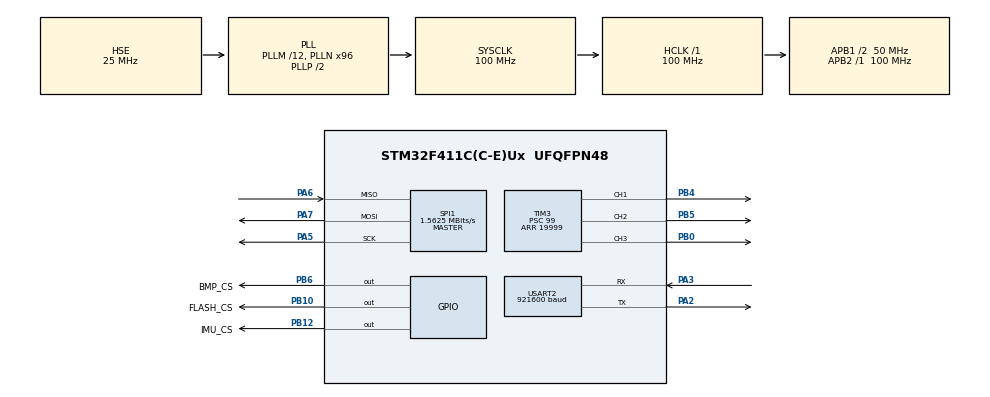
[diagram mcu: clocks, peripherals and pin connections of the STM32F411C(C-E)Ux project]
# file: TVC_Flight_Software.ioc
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Mcu.Family=STM32F4
Mcu.Name=STM32F411C(C-E)Ux
Mcu.Package=UFQFPN48
NVIC.PriorityGroup=NVIC_PRIORITYGROUP_4
NVIC.TIM2_IRQn=true\:0\:0\:false\:false\:true\:true\:true\:true
PA2.Mode=Asynchronous
PA2.Signal=USART2_TX
PA3.GPIO_PuPd=GPIO_PULLUP
PA3.Mode=Asynchronous
PA3.Signal=USART2_RX
PA5.Mode=Full_Duplex_Master
PA5.Signal=SPI1_SCK
PA6.Mode=Full_Duplex_Master
PA6.Signal=SPI1_MISO
PA7.Mode=Full_Duplex_Master
PA7.Signal=SPI1_MOSI
PB0.Signal=S_TIM3_CH3
PB10.GPIO_Label=FLASH_CS
PB10.PinState=GPIO_PIN_SET
PB10.Signal=GPIO_Output
PB12.GPIO_Label=IMU_CS
PB12.PinState=GPIO_PIN_SET
PB12.Signal=GPIO_Output
PB4.Signal=S_TIM3_CH1
PB5.Signal=S_TIM3_CH2
PB6.GPIO_Label=BMP_CS
PB6.PinState=GPIO_PIN_SET
PB6.Signal=GPIO_Output
PH0\ -\ OSC_IN.Mode=HSE-External-Oscillator
PH0\ -\ OSC_IN.Signal=RCC_OSC_IN
PH1\ -\ OSC_OUT.Mode=HSE-External-Oscillator
PH1\ -\ OSC_OUT.Signal=RCC_OSC_OUT
ProjectManager.HeapSize=0x200
ProjectManager.StackSize=0x400
ProjectManager.TargetToolchain=CMake
RCC.48MHZClocksFreq_Value=50000000
RCC.AHBFreq_Value=100000000
RCC.APB1CLKDivider=RCC_HCLK_DIV2
RCC.APB1Freq_Value=50000000
RCC.APB1TimFreq_Value=100000000
RCC.APB2Freq_Value=100000000
RCC.APB2TimFreq_Value=100000000
RCC.CortexFreq_Value=100000000
RCC.HCLKFreq_Value=100000000
RCC.HSE_VALUE=25000000
RCC.HSI_VALUE=16000000
RCC.LSE_VALUE=32768
RCC.PLLM=12
RCC.PLLN=96
RCC.PLLSourceVirtual=RCC_PLLSOURCE_HSE
RCC.SYSCLKFreq_VALUE=100000000
RCC.SYSCLKSource=RCC_SYSCLKSOURCE_PLLCLK
RCC.VCOOutputFreq_Value=200000000
SH.S_TIM3_CH1.0=TIM3_CH1,PWM Generation1 CH1
SH.S_TIM3_CH2.0=TIM3_CH2,PWM Generation2 CH2
SH.S_TIM3_CH3.0=TIM3_CH3,PWM Generation3 CH3
SPI1.BaudRatePrescaler=SPI_BAUDRATEPRESCALER_64
SPI1.CLKPhase=SPI_PHASE_2EDGE
SPI1.CLKPolarity=SPI_POLARITY_HIGH
SPI1.CalculateBaudRate=1.5625 MBits/s
SPI1.Direction=SPI_DIRECTION_2LINES
SPI1.Mode=SPI_MODE_MASTER
SPI1.VirtualType=VM_MASTER
TIM2.Period=49
TIM2.Prescaler=9999
TIM3.Channel-PWM\ Generation1\ CH1=TIM_CHANNEL_1
TIM3.Channel-PWM\ Generation2\ CH2=TIM_CHANNEL_2
TIM3.Channel-PWM\ Generation3\ CH3=TIM_CHANNEL_3
TIM3.Period=19999
TIM3.Prescaler=99
TIM3.Pulse-PWM\ Generation3\ CH3=2000
USART2.BaudRate=921600
USART2.VirtualMode=VM_ASYNC
VP_TIM2_VS_ClockSourceINT.Mode=Internal
board=custom

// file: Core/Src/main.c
/* USER CODE BEGIN Header */
/**
  ******************************************************************************
  * @file           : main.c
  * @brief          : Main program body
  ******************************************************************************
  * @attention
  *
  * Copyright (c) 2026 STMicroelectronics.
  * All rights reserved.
  *
  * This software is licensed under terms that can be found in the LICENSE file
  * in the root directory of this software component.
  * If no LICENSE file comes with this software, it is provided AS-IS.
  *
  ******************************************************************************
  */
/* USER CODE END Header */
#include "main.h"

/* USER CODE BEGIN Includes */
#include <stdint.h>
#include <stdio.h>
#include <math.h>
/* USER CODE END Includes */

/* USER CODE BEGIN PTD */
typedef struct {
  float w, x, y, z;
} Quaternion;

typedef struct {
    uint16_t dig_T1;
    int16_t dig_T2;
    int16_t dig_T3;
    uint16_t dig_P1;
    int16_t dig_P2;
    int16_t dig_P3;
    int16_t dig_P4;
    int16_t dig_P5;
    int16_t dig_P6;
    int16_t dig_P7;
    int16_t dig_P8;
    int16_t dig_P9;
} BMP280_Calib;

typedef enum {
  FLIGHT_DISARMED = 0,
  FLIGHT_PAD,
  FLIGHT_BOOST,
  FLIGHT_COAST,
  FLIGHT_DESCENT,
} FlightState;

typedef struct __attribute__((packed)) {
  uint32_t t_ms;                  // 4
  float qw, qx, qy, qz;           // 16
  float wx, wy, wz;               // 12 (post bias correction, rad/s)
  float ax_g, ay_g, az_g;         // 12 (raw accel, g)
  float err_y, err_z;             // 8
  float    cmd_y, cmd_z;          // 8   (gimbal degrees)
  uint16_t pulse_y, pulse_z;      // 4   (µs)
  float    kf_h, kf_v, kf_b;      // 12
  uint8_t  state;                 // 1
  uint8_t  flags;                 // 1
} LogRecord;

typedef enum {
  EJECT_IDLE = 0,   // waiting for a trigger
  EJECT_KNOCK,      // horn at knock position
  EJECT_RETURN,     // horn back at armed
  EJECT_DONE,       // fired, will not fire again
} EjectState;

/* USER CODE END PTD */

/* USER CODE BEGIN PD */
#define ISM_WHO_AM_I  0x0F
#define ISM_CTRL1_XL  0x10 // Accelerometer Control: 0DR + full-scale
#define ISM_CTRL2_G   0x11 // Gyroscope Control: 0DR + full-scale
#define ISM_OUTX_L_G  0x22 // Gyroscope X-axis output, low byte (data block starts here)
#define ISM_OUTX_L_A  0x28 // Accelerometer X-axis output, low byte (data block starts here)
#define ACCEL_SENS_8G 0.244f // milli g's per count (+-8g range)
#define GYRO_SENS_1000DPS 35.0f // milli dps per count (+-1000 dps range)
#define GRAVITY 9.80665f // m/s^2

// Flight state machine thresholds
// Motor is Estes F15-0 with total loaded mass of 705g
#define LAUNCH_ACCEL_THRESH  5.0f // m/s^2, well above noise. Max accel = ~27 m/s^2 from OpenRocket sim
#define BURNOUT_ACCEL_THRESH -4.0f // m/s^2, thrust gone
#define APOGEE_VEL_THRESH -1.0f // m/s, definitively descending
#define DEBOUNCE_PASSES 20 // 20 passes at 200 Hz = 100ms

#define ARM_TILT_MAX     35.0f  // degrees from vertical
#define ARM_GYRO_MAX     0.25f  // rad/s, any axis, must be below to enter armed state
#define ARM_ACCEL_BAND   0.30f  // g, deviation from 1.0g must be below to enter armed state
#define ARM_HOLD_PASSES  2000   // 10s hold time

// ---- Recovery ejection (TIM3_CH3, PB0) ----
#define EJECT_ARMED_US       2000   // latch engaged, horn clear
#define EJECT_KNOCK_US        600   // tuned against the latch
#define EJECT_DWELL_PASSES    100   // 500 ms at 200 Hz
#define EJECT_BACKUP_PASSES  1300   // 6.5 s after BOOST -- set from OpenRocket

// Kalman filter parameters
#define KF_ACCEL_NOISE 0.15f // m/s^2, accelerometer noise std dev
#define KF_BIAS_WALK  0.005f  // m/s^2 per sqrt(s), how fast bias drifts
#define KF_BARO_NOISE  0.40f  // m, barometer noise std dev (I measured this)

// FLAG BITS
#define LOG_FLAG_SAT_Y     0x01   // cmd_y clamped at MAX_DEFLECT
#define LOG_FLAG_SAT_Z     0x02   // cmd_z clamped at MAX_DEFLECT
#define LOG_FLAG_PULSE_Y   0x04   // pulse_y hit µs bound -- should never fire
#define LOG_FLAG_PULSE_Z   0x08   // pulse_z hit µs bound -- should never fire
#define LOG_FLAG_NO_TRUST  0x10   // accel trust was zero
#define LOG_FLAG_OVERRUN   0x20   // loop didn't finish before next tick
#define LOG_FLAG_EJECT     0x40   // ejection sequence active this tick
#define LOG_FLAG_EJECT_BAK 0x80   // fired by backup timer, not apogee detection

// ---- Servo calibration (measured 2026-07-31, 6.75" lever arm) ----
// Channel map:
//   TIM3_CH1 = PB4 = mount "Y" axis servo
//   TIM3_CH2 = PB5 = mount "X" axis servo
#define SERVO_MY_TRIM   1600    // µs at gimbal neutral
#define SERVO_MY_USPD   44.4f   // µs per gimbal degree
#define SERVO_MY_MIN    1175    // µs
#define SERVO_MY_MAX    1925    // µs

#define SERVO_MX_TRIM   1875    // µs, at gimbal neutral
#define SERVO_MX_USPD   48.5f   // µs, per gimbal degree
#define SERVO_MX_MIN    1450    // µs
#define SERVO_MX_MAX    2300    // µs

#define MAX_DEFLECT     6.0f    // gimbal degrees, both axes

// Verified (+Y on IMU points from +X servo toward center of rocket)
#define SERVO_MY_SIGN   (-1.0f) // Verified on Bench
#define SERVO_MX_SIGN   (+1.0f) // Verified on Bench

#define SLEW_MAX_US  25   // µs of pulse change per 5 ms tick

// TESTING
#define BENCH_TEST 0  // TEMPORARY: force controller active for bench sign check
#define SLEW_TEST 0   // 1 = bench slew measurement, never fly with this set
#define DRIFT_TEST 0  // 1 = disable accel correction to measure gyro drift
#define SIM_MODE 0   // 1 = synthetic flight profile, 0 = real sensors
#define EJECTION_BENCH_TEST 0 // 1 = bench test of ejection sequence, 0 = normal flight

// Ejection Testing
#define EJECT_DWELL_MS       500   // time at knock before returning

// SPI Timeouts
#define SPI_TIMEOUT_MS  10 // ms

// Flash Chip
// Logging
#define LOG_RECORDS_PER_PAGE  3      // 3 x 78 = 234 bytes, fits a 256-byte page
#define LOG_STOP_PASSES       2000   // 10 s at 200 Hz after DESCENT
#define FLASH_SIZE            0x1000000   // 16 MB

// ---- PAD arming indicator ----
// Both TVC servos wiggle in sequence on entering PAD, so the vehicle can
// signal "armed, safe to ignite" without a serial connection. Sequential
// rather than simultaneous so a dead channel is visible.
#define WIGGLE_DEG          4.0f   // gimbal degrees, well inside MAX_DEFLECT
#define WIGGLE_STEP_PASSES    60   // 300 ms per step at 200 Hz
#define WIGGLE_STEPS          10   // Y: +,-,+,-, then Z: +,-,+,-, then center x2

/* USER CODE END PD */

SPI_HandleTypeDef hspi1;

TIM_HandleTypeDef htim2;
TIM_HandleTypeDef htim3;

UART_HandleTypeDef huart2;

/* USER CODE BEGIN PV */
volatile uint8_t tick_ready = 0;

BMP280_Calib calib; // Structure to hold calibration data
int32_t t_fine; // Variable to hold the fine temperature value for compensation

float p0; // Pressure at ground
/* USER CODE END PV */

void SystemClock_Config(void);
static void MX_GPIO_Init(void);
static void MX_SPI1_Init(void);
static void MX_TIM2_Init(void);
static void MX_TIM3_Init(void);
static void MX_USART2_UART_Init(void);
/* USER CODE BEGIN PFP */

// IMU & Orientation Functions
uint8_t IMU_ReadRegister(uint8_t reg);
void IMU_WriteRegister(uint8_t reg, uint8_t value);
void IMU_ReadRegisters(uint8_t reg, uint8_t *buffer, uint8_t len);

Quaternion quat_multiply(Quaternion a, Quaternion b);
Quaternion quat_conjugate(Quaternion q);
Quaternion quat_normalize(Quaternion q);
void quat_print(const char *label, Quaternion q);

Quaternion quat_integrate(Quaternion q, float wx, float wy, float wz, float dt); // integrate angular velocity into quaternion

void quat_rotate_vector(Quaternion q, float vx, float vy, float vz, float *rx, float *ry, float *rz);

void quat_to_euler(Quaternion q, float *roll, float *pitch, float *yaw);

void attitude_tilt(Quaternion q, float *tilt_deg, float *err_y, float *err_z);

Quaternion quat_from_two_vectors(float ax, float ay, float az, float bx_, float by_, float bz_);

// BMP 280 Functions
uint8_t BMP280_ReadRegister(uint8_t reg); // Function to read a register from the BMP280 sensor

void BMP280ReadRegisters(uint8_t reg, uint8_t *buffer, uint16_t len); // Function to read multiple registers from the BMP280 sensor
void BMP280_ReadCalibration(void); // Function to read calibration data from the BMP280 sensor
void BMP280ReadRaw(int32_t *raw_temp, int32_t *raw_press); // Function to read raw temperature and pressure data from the BMP280 sensor
void BMP280_WriteRegister(uint8_t reg, uint8_t value);
float BMP280CompensateTemp(int32_t raw_temp); // Function to compensate the raw temperature data using calibration data
float BMP280CompensatePress(int32_t raw_press); // Function to compensate the raw pressure data using calibration data

// Altitude Functions
float pressure_to_altitude(float pressure_pa, float p0_pa);

// SIM Functions
#if SIM_MODE
float sim_lin_accel_z(float t);
#endif

// Flash Chip Functions
void Flash_ReadJEDEC(uint8_t *buf);
void Flash_Read(uint32_t addr, uint8_t *buf, uint16_t len);
uint8_t Flash_ReadStatus(void);
void Flash_WaitBusy(void);
void Flash_WriteEnable(void);
void Flash_PageProgram(uint32_t addr, const uint8_t *data, uint16_t len);
void Flash_SectorErase(uint32_t addr);
void Flash_Dump(void);
void Flash_EraseLog(void);
static uint32_t Flash_FindEndSector(void);
uint32_t Flash_FindWriteAddr(void);

// Control Functions
static uint16_t gimbal_to_pulse(float cmd_deg, float sign, uint16_t trim, float us_per_deg, uint16_t min_us, uint16_t max_us);

/* USER CODE END PFP */

int main(void)
{

  /* MCU Configuration--------------------------------------------------------*/

  /* Reset of all peripherals, Initializes the Flash interface and the Systick. */
  HAL_Init();

  /* Configure the system clock */
  SystemClock_Config();

  /* Initialize all configured peripherals */
  MX_GPIO_Init();
  MX_SPI1_Init();
  MX_TIM2_Init();
  MX_TIM3_Init();
  MX_USART2_UART_Init();
  /* USER CODE BEGIN 2 */

#if EJECTION_BENCH_TEST
  __HAL_TIM_SET_COMPARE(&htim3, TIM_CHANNEL_3, EJECT_ARMED_US);
  HAL_TIM_PWM_Start(&htim3, TIM_CHANNEL_3);
  HAL_Delay(10000);
  __HAL_TIM_SET_COMPARE(&htim3, TIM_CHANNEL_3, EJECT_KNOCK_US);
  HAL_Delay(EJECT_DWELL_MS);
  __HAL_TIM_SET_COMPARE(&htim3, TIM_CHANNEL_3, EJECT_ARMED_US);
  while (1) { }
#endif

  printf("LogRecord size: %u bytes (expected 78)\r\n", (unsigned)sizeof(LogRecord));

  // CS rests HIGH (deselected). Overrides CubeMX's startup LOW
  HAL_GPIO_WritePin(IMU_CS_GPIO_Port, IMU_CS_Pin, GPIO_PIN_SET);
  HAL_GPIO_WritePin(BMP_CS_GPIO_Port, BMP_CS_Pin, GPIO_PIN_SET);
  HAL_GPIO_WritePin(FLASH_CS_GPIO_Port, FLASH_CS_Pin, GPIO_PIN_SET);
  HAL_Delay(10);

  // Enable DWT cycle counter for loop timing instrumentaion
  CoreDebug->DEMCR |= CoreDebug_DEMCR_TRCENA_Msk;
  DWT->CYCCNT = 0;
  DWT->CTRL |= DWT_CTRL_CYCCNTENA_Msk;

  uint8_t who_am_i = IMU_ReadRegister(ISM_WHO_AM_I);
  printf("ISM330DHCX IMU WHO_AM_I: 0x%02X (expected: 0x6B)\r\n", who_am_i);

  uint8_t BMP280_ID = BMP280_ReadRegister(0xD0); // Read the chip ID register
  printf("BMP280 Chip ID: 0x%02X (expected: 0x58)\r\n", BMP280_ID); // Print the chip ID to UART

  // --- W25Q128 flash bring-up test ---
  uint8_t jedec[3];
  Flash_ReadJEDEC(jedec);
  printf("W25Q128 JEDEC: %02X %02X %02X (expected EF 40 18)\r\n",
         jedec[0], jedec[1], jedec[2]);

  // Ground utility menu. Times out into flight mode after 3 s.
  printf("Press 'd' to dump, 'e' to erase, any other key to fly...\r\n");
  uint8_t ch;
  if (HAL_UART_Receive(&huart2, &ch, 1, 3000) == HAL_OK) {
    if (ch == 'd' || ch == 'D') {
      Flash_Dump();
      printf("Dump complete. Reset to continue.\r\n");
      while (1) { }
    } else if (ch == 'e' || ch == 'E') {
      printf("Erase all flight data? Press 'y' to confirm.\r\n");
      uint8_t confirm;
      if (HAL_UART_Receive(&huart2, &confirm, 1, 10000) == HAL_OK &&
          (confirm == 'y' || confirm == 'Y')) {
        Flash_EraseLog();
      } else {
        printf("Erase cancelled.\r\n");
      }
      printf("Reset to continue.\r\n");
      while (1) { }
    }
  }

  // Test Pattern
  //uint8_t pattern[16];
  //for (int i = 0; i < 16; i++) pattern[i] = 0xA0 + i;
  //Flash_PageProgram(0x000000, pattern, 16);

  uint32_t t_find = HAL_GetTick();
  uint32_t log_addr = Flash_FindWriteAddr();
  printf("Log write pointer: 0x%06lX (%lu KB used, %lu ms)\r\n",
         (unsigned long)log_addr, (unsigned long)(log_addr / 1024),
         (unsigned long)(HAL_GetTick() - t_find));

  BMP280_ReadCalibration();
  printf("dig_T1 = %u  dig_P1 = %u\r\n", calib.dig_T1, calib.dig_P1);

  BMP280_WriteRegister(0xF4, 0x57);  // temp x2, press x16, normal mode
  HAL_Delay(100);

  // Establish ground reference pressure by averaging 32 samples
  float p0_sum = 0.0f;
  for (int i = 0; i < 32; i++) {
    int32_t rt, rp;
    BMP280ReadRaw(&rt, &rp);
    BMP280CompensateTemp(rt);
    float sample = BMP280CompensatePress(rp);
    p0_sum += sample;
    HAL_Delay(50);
  }
  p0 = p0_sum / 32.0f;
  printf("Ground reference P0: %.2f Pa\r\n", p0);

  // Wake accelerometer: 208 Hz 0DR, +-8g
  IMU_WriteRegister(ISM_CTRL1_XL, 0x5C);
  // Wake gyroscope: 208 Hz 0DR, +-1000 dps
  IMU_WriteRegister(ISM_CTRL2_G, 0x58);

  // Read the control registers back to confirm the wake-up took
  printf("CTRL1_XL: 0x%02X (expected 0x5C)\r\n", IMU_ReadRegister(ISM_CTRL1_XL));
  printf("CTRL2_G:  0x%02X (expected 0x58)\r\n", IMU_ReadRegister(ISM_CTRL2_G));

  HAL_TIM_Base_Start_IT(&htim2);

  // Servo PWM on TIM3: CH1 = PB4, CH2 = PB5
  HAL_TIM_PWM_Start(&htim3, TIM_CHANNEL_1);
  HAL_TIM_PWM_Start(&htim3, TIM_CHANNEL_2);
  __HAL_TIM_SET_COMPARE(&htim3, TIM_CHANNEL_1, SERVO_MY_TRIM);   // y axis servo
  __HAL_TIM_SET_COMPARE(&htim3, TIM_CHANNEL_2, SERVO_MX_TRIM);   // x axis servo

#if SLEW_TEST
  {
    uint32_t dwell = 100;   // ms, starting point
    while (1) {
      printf("dwell %lu ms\r\n", (unsigned long)dwell);

      for (int i = 0; i < 5; i++) {
        // swing to +MAX_DEFLECT
        __HAL_TIM_SET_COMPARE(&htim3, TIM_CHANNEL_2,
          gimbal_to_pulse(+MAX_DEFLECT, SERVO_MX_SIGN, SERVO_MX_TRIM,
                          SERVO_MX_USPD, SERVO_MX_MIN, SERVO_MX_MAX));
        HAL_Delay(dwell);

        // back to trim, settle
        __HAL_TIM_SET_COMPARE(&htim3, TIM_CHANNEL_2, SERVO_MX_TRIM);
        HAL_Delay(800);

        // swing to -MAX_DEFLECT
        __HAL_TIM_SET_COMPARE(&htim3, TIM_CHANNEL_2,
          gimbal_to_pulse(-MAX_DEFLECT, SERVO_MX_SIGN, SERVO_MX_TRIM,
                          SERVO_MX_USPD, SERVO_MX_MIN, SERVO_MX_MAX));
        HAL_Delay(dwell);

        // back to trim, settle
        __HAL_TIM_SET_COMPARE(&htim3, TIM_CHANNEL_2, SERVO_MX_TRIM);
        HAL_Delay(800);
      }

      if (dwell > 20) {
        dwell -= 10;
      } else {
        printf("floor reached, restarting\r\n");
        __HAL_TIM_SET_COMPARE(&htim3, TIM_CHANNEL_1, SERVO_MY_TRIM);
        HAL_Delay(3000);
        dwell = 200;
      }
    }
  }
#endif

  // Ejection servo: compare register set BEFORE the channel is enabled, so
  // the first pulse out of PB0 is the armed position. A window at 1500 would
  // be a deploy event on the pad.
  __HAL_TIM_SET_COMPARE(&htim3, TIM_CHANNEL_3, EJECT_ARMED_US);
  HAL_TIM_PWM_Start(&htim3, TIM_CHANNEL_3);

  /* USER CODE END 2 */

  /* Infinite loop */
  /* USER CODE BEGIN WHILE */
  uint8_t accel_buf[6];
  uint8_t gyro_buf[6];

   // Seed attitude from gravity. Board must be stationary at boot
  HAL_Delay(50);   // let the accel produce a valid sample after wake up

  uint8_t init_buf[6];
  IMU_ReadRegisters(ISM_OUTX_L_A, init_buf, 6);
  int16_t iax = (int16_t)(init_buf[1] << 8 | init_buf[0]);
  int16_t iay = (int16_t)(init_buf[3] << 8 | init_buf[2]);
  int16_t iaz = (int16_t)(init_buf[5] << 8 | init_buf[4]);
  float inorm = sqrtf((float)iax*iax + (float)iay*iay + (float)iaz*iaz);

  Quaternion q = {1.0f, 0.0f, 0.0f, 0.0f}; // start at identity (no rotation)
  if (inorm > 1e-3f) {
    // Measured world-up direction in body coordinates
    float ux0 = iax / inorm, uy0 = iay / inorm, uz0 = iaz / inorm;
    // Rotate carrying world-up (0,0,1) onto the measured direction
    q = quat_from_two_vectors(ux0, uy0, uz0, 0.0f, 0.0f, 1.0f);
  }
  quat_print("seed q:", q);

  float bx = 0.0f, by = 0.0f, bz = 0.0f; // estimated gyro bias (rad/s)
  const float DEG2RAD = 3.14159265358979323846f / 180.0f;

  const float Kp = 2.0f; // proportional gain for Mahoney filter (tubing knob)
  const float Ki = 0.01f; // integral gain
  const float TRUST_BAND = 0.10f;  // full trust within +/- this many g of 1.0
  const float TRUST_ZERO = 0.30f;  // zero trust beyond this many g from 1.0

  uint32_t last_tick = HAL_GetTick();
  uint32_t pass_count = 0;
  float altitude = 0.0f;

  uint32_t worst_cycles = 0;    // longest tick seen, in CPU cycles
  uint32_t overrun_count = 0;   // ticks that missed their deadline
  uint32_t nan_count = 0;       // NaN resets encountered (should be zero)

  // Complimentary filter values for altitude/velocity fusion (OLD)

  //float h = 0.0f; // fused altitude estimate (m above pad)
  //float v = 0.0f; // fused vertical velocity estimate (m/s)
  //const float Kh = 0.30f; // how hard baro pulls the altitude estimate
  //const float Kv = 0.60f; // how hard baro pulls the velocity estimate

  FlightState flight_state = FLIGHT_DISARMED;
  uint16_t debounce_count = 0;
  uint32_t arm_count = 0;

  // --- Kalman state ---
  float kf_h = 0.0f;   // altitude estimate (m)
  float kf_v = 0.0f;   // velocity estimate (m/s)
  float kf_b = 0.0f;   // accelerometer bias (m/s^2)

  // --- Logging state ---
  uint8_t  log_buf[256];
  uint8_t  log_count = 0;        // records currently in log_buf
  uint8_t  log_active = 0;       // 1 = logging
  uint32_t log_stop_count = 0;   // passes since entering DESCENT
  for (int i = 0; i < 256; i++) log_buf[i] = 0xFF;

  // --- Ejection state ---
  EjectState eject_state = EJECT_IDLE;
  uint32_t eject_timer = 0;        // passes in the current sequence step
  uint32_t boost_passes = 0;       // passes since BOOST entry, for the backup
  uint8_t  eject_by_backup = 0;    // which trigger fired

  // --- PAD wiggle indicator ---
  uint8_t  wiggle_step = 0;        // 0 = not started
  uint32_t wiggle_timer = 0;
  uint8_t  wiggle_done = 0;        // latch -- runs once per boot

  // --- Slew Rate Limiter ---
  uint16_t prev_pulse_y = SERVO_MY_TRIM;
  uint16_t prev_pulse_z = SERVO_MX_TRIM;

  // Covariance, symmetric 3x3 (six unique terms)
  float p00 = 1.0f,  p01 = 0.0f,  p02 = 0.0f;
  float p11 = 1.0f,  p12 = 0.0f;
  float p22 = 1.0f;

  // Control gain
  const float Kp_att = 86.0f;  // gimbal degrees per radian of attitude error <----- FROM TUNING.MD
  const float Kd_att = 10.0f;   // gimbal degrees per rad/s of body rate <----- FROM TUNING.MD

  while (1)
  {
    if (tick_ready) {
      tick_ready = 0;
      uint32_t t_start = DWT->CYCCNT;
      pass_count++;

      uint32_t now = HAL_GetTick();
      float dt = (now - last_tick) / 1000.0f; // convert ms to seconds
      last_tick = now;

      if (pass_count % 8 == 0) {       // 200 Hz / 8 = 25 Hz
        int32_t rt, rp;
        BMP280ReadRaw(&rt, &rp);
        BMP280CompensateTemp(rt);
        float press = BMP280CompensatePress(rp);
        altitude = pressure_to_altitude(press, p0);

        // Correction step (25 Hz)
#if !SIM_MODE
        // OLD COMPLIMENTARY FILTER
        // float alt_err = altitude - h;
        // h += Kh * alt_err;
        // v += Kv * alt_err;

        // --- Kalman Update (25 Hz) ---
        {
          float y = altitude - kf_h;
          float S = p00 + KF_BARO_NOISE * KF_BARO_NOISE;
          float k0 = p00 / S;
          float k1 = p01 / S;
          float k2 = p02 / S;

          kf_h += k0 * y;
          kf_v += k1 * y;
          kf_b += k2 * y;

          float m00 = (1.0f - k0) * p00;
          float m01 = (1.0f - k0) * p01;
          float m02 = (1.0f - k0) * p02;
          float m11 = p11 - k1 * p01;
          float m12 = p12 - k1 * p02;
          float m22 = p22 - k2 * p02;

          p00 = m00; p01 = m01; p02 = m02;
          p11 = m11; p12 = m12; p22 = m22;
        }
#endif
      }

      IMU_ReadRegisters(ISM_OUTX_L_G, gyro_buf, 6);
      IMU_ReadRegisters(ISM_OUTX_L_A, accel_buf, 6);

      int16_t ax = (int16_t)(accel_buf[1] << 8 | accel_buf[0]);
      int16_t ay = (int16_t)(accel_buf[3] << 8 | accel_buf[2]);
      int16_t az = (int16_t)(accel_buf[5] << 8 | accel_buf[4]);
      int16_t gx = (int16_t)(gyro_buf[1] << 8 | gyro_buf[0]);
      int16_t gy = (int16_t)(gyro_buf[3] << 8 | gyro_buf[2]);
      int16_t gz = (int16_t)(gyro_buf[5] << 8 | gyro_buf[4]);

      // raw -> dps -> rad/s
      float wx = gx * GYRO_SENS_1000DPS / 1000.0f * DEG2RAD;
      float wy = gy * GYRO_SENS_1000DPS / 1000.0f * DEG2RAD;
      float wz = gz * GYRO_SENS_1000DPS / 1000.0f * DEG2RAD;

      // --- Step 2/3: accel correction ---
      // Calcualte magnitude of accel readings
      float an = sqrtf((float)ax*ax + (float)ay*ay + (float)az*az);
      // Convert magnitude to g's and compare to 1.0g. g_err should read 0 at rest
      float an_g = an * ACCEL_SENS_8G / 1000.0f;  // raw counts -> g

      float g_err = fabsf(an_g - 1.0f); //how far from pure gravity?

      // Trust factor
      float trust;
      if (g_err <= TRUST_BAND) {
        trust = 1.0f;
      } else if (g_err >= TRUST_ZERO) {
        trust = 0.0f;
      } else {
        trust = 1.0f - (g_err - TRUST_BAND) / (TRUST_ZERO - TRUST_BAND);
      }

#if DRIFT_TEST
      if (flight_state != FLIGHT_DISARMED) trust = 0.0f;  // disable accel correction after 20s for gyro drift measurement
#endif

      if (an > 1e-3f) {
        float max = ax / an, may = ay / an, maz = az / an; // measured gravity direction

        // predicted gravity in body frame = q* applied to world up (0,0,1)
        float px, py, pz;
        quat_rotate_vector(quat_conjugate(q), 0.0f, 0.0f, 1.0f, &px, &py, &pz);

        // error = measured x predicted (cross product)
        float ex = may*pz - maz*py;
        float ey = maz*px - max*pz;
        float ez = max*py - may*px;

        // Accumulate the error into bias
        bx += Ki * trust * ex * dt;
        by += Ki * trust * ey * dt;
        bz += Ki * trust * ez * dt;

        // anti-windup: real gyro bias is tiny (~a few dps). Cap it.
        const float BIAS_MAX = 0.05f;  // rad/s, ~3 dps
        if (bx > BIAS_MAX) bx = BIAS_MAX;
        if (bx < -BIAS_MAX) bx = -BIAS_MAX;
        if (by > BIAS_MAX) by = BIAS_MAX;
        if (by < -BIAS_MAX) by = -BIAS_MAX;
        if (bz > BIAS_MAX) bz = BIAS_MAX;
        if (bz < -BIAS_MAX) bz = -BIAS_MAX;

        // --- Step 4: feed error back into the gyro rate ---
        wx += Kp * trust * ex;
        wy += Kp * trust * ey;
        wz += Kp * trust * ez;
      }

      wx -= bx;
      wy -= by;
      wz -= bz;

      q = quat_integrate(q, wx, wy, wz, dt);

      // NaN guard: a NaN quaternion is unrecoverable and defeats every
      // downstream clamp (all NaN comparisons are false). Reset and let the
      // Mahony filter re-converge from the accelerometer.
      if (isnan(q.w) || isnan(q.x) || isnan(q.y) || isnan(q.z)) {
        q.w = 1.0f; q.x = 0.0f; q.y = 0.0f; q.z = 0.0f;
        bx = 0.0f; by = 0.0f; bz = 0.0f;   // bias accumulated against bad attitude, reset it
        nan_count++;
      }
      // Attitude error for control
      float tilt, err_y, err_z;
      attitude_tilt(q, &tilt, &err_y, &err_z);

      // --- world-frame linear acceleration
      // Raw counts --> g (physical units, not the normalized direction)
      // vector the Mahony correction uses
      float ax_g = ax * ACCEL_SENS_8G / 1000.0f;
      float ay_g = ay * ACCEL_SENS_8G / 1000.0f;
      float az_g = az * ACCEL_SENS_8G / 1000.0f;

      // Body --> world (pass q, not its conjugate)
      float wax, way, waz;
      quat_rotate_vector(q, ax_g, ay_g, az_g, &wax, &way, &waz);

      // Remove gravity: world up is +Z, so a stationary sensor reads +1g
      float lin_accel_z = (waz - 1.0f) * GRAVITY;   // m/s^2

// SIM MODE LIN Z
#if SIM_MODE
      static float sim_t = 0.0f;
      if (flight_state >= FLIGHT_PAD) {
        sim_t += dt;
      }
      lin_accel_z = sim_lin_accel_z(sim_t);
#endif

      // Vertical channel, predict step (200 Hz) (OLD COMPLIMENTARY FILER)
      // h += v * dt + 0.5f * lin_accel_z * dt * dt;
      // v += lin_accel_z * dt;

      // --- Kalman predict (200Hz) ---
      {
        float a = lin_accel_z - kf_b;

        kf_h += kf_v * dt + 0.5f * a *dt * dt;
        kf_v += a * dt;

        float c = -0.5f * dt * dt;
        float d = -dt;

        float f00 = p00 + dt*p01 + c*p02;
        float f01 = p01 + dt*p11 + c*p12;
        float f02 = p02 + dt*p12 + c*p22;
        float f10 = p01 + d*p02;
        float f11 = p11 + d*p12;
        float f12 = p12 + d*p22;
        float f22 = p22;

        float n00 = f00 + dt*f01 + c*f02;
        float n01 = f01 + d*f02;
        float n02 = f02;
        float n11 = f11 + d*f12;
        float n12 = f12;
        float n22 = f22;

        float sa2 = KF_ACCEL_NOISE * KF_ACCEL_NOISE;
        float dt2 = dt * dt;
        n00 += sa2 * dt2 * dt2 * 0.25f;
        n01 += sa2 * dt2 * dt * 0.5f;
        n11 += sa2 * dt2;
        n22 += KF_BIAS_WALK * KF_BIAS_WALK * dt;

        p00 = n00; p01 = n01; p02 = n02;
        p11 = n11; p12 = n12; p22 = n22;
      }

      // NaN guard on the vertical channel
      if (isnan(kf_h) || isnan(kf_v) || isnan(kf_b)) {
        kf_h = 0.0f; kf_v = 0.0f; kf_b = 0.0f;
        p00 = 1.0f; p01 = 0.0f; p02 = 0.0f;
        p11 = 1.0f; p12 = 0.0f; p22 = 1.0f;
        nan_count++;
      }

      // -- Flight State Machine --
      switch (flight_state) {

        case FLIGHT_DISARMED: {
          float gyro_mag = sqrtf(wx*wx + wy*wy + wz*wz);
          int still = (gyro_mag < ARM_GYRO_MAX) && (g_err < ARM_ACCEL_BAND);
          int upright = (tilt < ARM_TILT_MAX);

          if (still && upright) {
            arm_count++;
            if (arm_count >= ARM_HOLD_PASSES) {
              flight_state = FLIGHT_PAD;
              printf("*** ARMED ***\r\n");
            }
          } else {
            arm_count = 0;
          }
          break;
        }

        case FLIGHT_PAD:
          if (lin_accel_z > LAUNCH_ACCEL_THRESH) {
            debounce_count++;
            if (debounce_count >= DEBOUNCE_PASSES) {
              flight_state = FLIGHT_BOOST;
              debounce_count = 0;
              printf("*** LAUNCH DETECTED ***\r\n");
            }
          } else {
            debounce_count = 0;
          }
          break;

        case FLIGHT_BOOST:
          if (lin_accel_z < BURNOUT_ACCEL_THRESH && kf_v > 0.0f) {
            debounce_count++;
            if (debounce_count >= DEBOUNCE_PASSES) {
              flight_state = FLIGHT_COAST;
              debounce_count = 0;
              printf("*** BURNOUT  v=%.1f m/s  h=%.1f m ***\r\n", kf_v, kf_h);
            }
          } else {
            debounce_count = 0;
          }
          break;

        case FLIGHT_COAST:
          if (kf_v < APOGEE_VEL_THRESH) {
            debounce_count++;
            if (debounce_count >= DEBOUNCE_PASSES) {
              flight_state = FLIGHT_DESCENT;
              debounce_count = 0;
              printf("*** APOGEE  h=%.1f m ***\r\n", kf_h);
            }
          } else {
            debounce_count = 0;
          }
          break;

        case FLIGHT_DESCENT:
          break;
      }

      // --- Recovery ejection ---
      // Primary trigger is the DESCENT transition (apogee). The backup timer
      // exists because every path to DESCENT runs through launch, burnout,
      // and apogee detection -- and any one of them failing leaves the
      // vehicle ballistic with no chute. A late deployment beats none.
      if (flight_state == FLIGHT_BOOST || boost_passes > 0) boost_passes++;

      int fire_apogee = (flight_state == FLIGHT_DESCENT);
      int fire_backup = (boost_passes > 0 && boost_passes >= EJECT_BACKUP_PASSES);

      switch (eject_state) {
        case EJECT_IDLE:
          if (fire_apogee || fire_backup) {
            eject_by_backup = (!fire_apogee && fire_backup) ? 1 : 0;
            __HAL_TIM_SET_COMPARE(&htim3, TIM_CHANNEL_3, EJECT_KNOCK_US);
            eject_state = EJECT_KNOCK;
            eject_timer = 0;
            printf("*** EJECT (%s) ***\r\n",
                   eject_by_backup ? "backup timer" : "apogee");
          }
          break;

        case EJECT_KNOCK:
          if (++eject_timer >= EJECT_DWELL_PASSES) {
            __HAL_TIM_SET_COMPARE(&htim3, TIM_CHANNEL_3, EJECT_ARMED_US);
            eject_state = EJECT_RETURN;
            eject_timer = 0;
          }
          break;

        case EJECT_RETURN:
          if (++eject_timer >= EJECT_DWELL_PASSES) {
            eject_state = EJECT_DONE;
          }
          break;

        case EJECT_DONE:
          break;
      }

      // Logging starts when the vehicle arms, stops 10 s after apogee.
      if (flight_state == FLIGHT_PAD && !log_active && log_stop_count == 0) {
        log_active = 1;
      }
      if (flight_state == FLIGHT_DESCENT) {
        log_stop_count++;
        if (log_stop_count >= LOG_STOP_PASSES) log_active = 0;
      }

      // --- Control law: only active during BOOST phase ---
      float cmd_y = 0.0f;
      float cmd_z = 0.0f;

    #if BENCH_TEST
      if (1) {
    #else
      if (flight_state == FLIGHT_BOOST) {
    #endif

        float p_y = Kp_att * err_y;  // Proportional term Y
        float d_y = -Kd_att * wy;    // Derivative term Y
        cmd_y = p_y + d_y;     // command = P+D

        float p_z = Kp_att * err_z;  // Proportional term Y
        float d_z = -Kd_att * wz;    // Derivative term Z
        cmd_z = p_z + d_z;     // command = P+D

        // servo hard stop limits
        if (cmd_y > MAX_DEFLECT) cmd_y = MAX_DEFLECT;
        if (cmd_y < -MAX_DEFLECT) cmd_y = -MAX_DEFLECT;
        if (cmd_z > MAX_DEFLECT) cmd_z = MAX_DEFLECT;
        if (cmd_z < -MAX_DEFLECT) cmd_z = -MAX_DEFLECT;
      }

      // --- PAD arming indicator ---
      // Single-shot wiggle on entering PAD. Gated on PAD specifically, so it
      // can never override the control law during BOOST.
      if (flight_state == FLIGHT_PAD && !wiggle_done) {
        if (wiggle_step == 0) wiggle_step = 1;

        cmd_y = 0.0f;
        cmd_z = 0.0f;

        switch (wiggle_step) {
          case 1: cmd_y =  WIGGLE_DEG; break;   // Y channel
          case 2: cmd_y = -WIGGLE_DEG; break;
          case 3: cmd_y =  WIGGLE_DEG; break;
          case 4: cmd_y = -WIGGLE_DEG; break;
          case 5: break;                        // pause at center
          case 6: cmd_z =  WIGGLE_DEG; break;   // Z channel
          case 7: cmd_z = -WIGGLE_DEG; break;
          case 8: cmd_z =  WIGGLE_DEG; break;
          case 9: cmd_z = -WIGGLE_DEG; break;
          default: break;                       // final center
        }

        if (++wiggle_timer >= WIGGLE_STEP_PASSES) {
          wiggle_timer = 0;
          if (++wiggle_step > WIGGLE_STEPS) wiggle_done = 1;
        }
      }

      // --- Mixing: runs every tick, sets servo to trim if not in BOOST ---
      uint16_t pulse_y = gimbal_to_pulse(cmd_y, SERVO_MY_SIGN, SERVO_MY_TRIM, SERVO_MY_USPD, SERVO_MY_MIN, SERVO_MY_MAX);
      uint16_t pulse_z = gimbal_to_pulse(cmd_z, SERVO_MX_SIGN, SERVO_MX_TRIM, SERVO_MX_USPD, SERVO_MX_MIN, SERVO_MX_MAX);

      // --- Slew rate limit: cap pulse change per tick ---
      if (pulse_y > prev_pulse_y + SLEW_MAX_US) pulse_y = prev_pulse_y + SLEW_MAX_US;
      else if (prev_pulse_y > pulse_y + SLEW_MAX_US) pulse_y = prev_pulse_y - SLEW_MAX_US;
      prev_pulse_y = pulse_y;

      if (pulse_z > prev_pulse_z + SLEW_MAX_US) pulse_z = prev_pulse_z + SLEW_MAX_US;
      else if (prev_pulse_z > pulse_z + SLEW_MAX_US) pulse_z = prev_pulse_z - SLEW_MAX_US;
      prev_pulse_z = pulse_z;
      // --- End Slew rate limit ---

      __HAL_TIM_SET_COMPARE(&htim3, TIM_CHANNEL_1, pulse_y);   // y axis servo
      __HAL_TIM_SET_COMPARE(&htim3, TIM_CHANNEL_2, pulse_z);   // x axis servo

      // --- Log flags for this tick ---
      uint8_t flags = 0;
      if (cmd_y >= MAX_DEFLECT || cmd_y <= -MAX_DEFLECT) flags |= LOG_FLAG_SAT_Y;
      if (cmd_z >= MAX_DEFLECT || cmd_z <= -MAX_DEFLECT) flags |= LOG_FLAG_SAT_Z;
      if (pulse_y == SERVO_MY_MIN || pulse_y == SERVO_MY_MAX) flags |= LOG_FLAG_PULSE_Y;
      if (pulse_z == SERVO_MX_MIN || pulse_z == SERVO_MX_MAX) flags |= LOG_FLAG_PULSE_Z;
      if (trust == 0.0f) flags |= LOG_FLAG_NO_TRUST;
      if (eject_state == EJECT_KNOCK || eject_state == EJECT_RETURN)
        flags |= LOG_FLAG_EJECT;
      if (eject_by_backup) flags |= LOG_FLAG_EJECT_BAK;

      if (tick_ready) {
        overrun_count++;
        flags |= LOG_FLAG_OVERRUN;
      }

      static const char *state_names[] = {"DISARM", "PAD", "BOOST", "COAST", "DESCENT"};

      if (pass_count % 10 == 0) {    // 200 Hz / 10 = ~20 lines per second
              printf("%-7s tilt:%6.2f eY:%6.3f eZ:%6.3f | cy:%6.2f cz:%6.2f | py:%4u pz:%4u | f:%02X\r\n",
               state_names[flight_state], tilt, err_y, err_z, cmd_y, cmd_z,
               pulse_y, pulse_z, flags);
      }

      if (log_active && log_addr + 256 <= FLASH_SIZE) {
        LogRecord *r = (LogRecord *)(log_buf + log_count * sizeof(LogRecord));
        r->t_ms   = now;
        r->qw = q.w; r->qx = q.x; r->qy = q.y; r->qz = q.z;
        r->wx = wx;  r->wy = wy;  r->wz = wz;
        r->ax_g = ax_g; r->ay_g = ay_g; r->az_g = az_g;
        r->err_y = err_y; r->err_z = err_z;
        r->cmd_y = cmd_y; r->cmd_z = cmd_z;
        r->pulse_y = pulse_y; r->pulse_z = pulse_z;
        r->kf_h = kf_h; r->kf_v = kf_v; r->kf_b = kf_b;
        r->state = (uint8_t)flight_state;
        r->flags = flags;

        log_count++;
        if (log_count >= LOG_RECORDS_PER_PAGE) {
          Flash_PageProgram(log_addr, log_buf, 256);
          log_addr += 256;
          log_count = 0;
          for (int i = 0; i < 256; i++) log_buf[i] = 0xFF;
        }
      }

      // --- Loop timing instrumentation ---
      uint32_t t_elapsed = DWT->CYCCNT - t_start;
      if (t_elapsed > worst_cycles) worst_cycles = t_elapsed;

      if (pass_count % 200 == 0) {   // once per second
        printf(" [timing] worst:%lu us  overruns:%lu\r\n",
               (unsigned long)(worst_cycles / 100), (unsigned long)overrun_count);
      }
    }
    /* USER CODE END WHILE */

  }
}

void SystemClock_Config(void)
{
  RCC_OscInitTypeDef RCC_OscInitStruct = {0};
  RCC_ClkInitTypeDef RCC_ClkInitStruct = {0};

  /** Configure the main internal regulator output voltage
  */
  __HAL_RCC_PWR_CLK_ENABLE();
  __HAL_PWR_VOLTAGESCALING_CONFIG(PWR_REGULATOR_VOLTAGE_SCALE1);

  /** Initializes the RCC Oscillators according to the specified parameters
  * in the RCC_OscInitTypeDef structure.
  */
  RCC_OscInitStruct.OscillatorType = RCC_OSCILLATORTYPE_HSE;
  RCC_OscInitStruct.HSEState = RCC_HSE_ON;
  RCC_OscInitStruct.PLL.PLLState = RCC_PLL_ON;
  RCC_OscInitStruct.PLL.PLLSource = RCC_PLLSOURCE_HSE;
  RCC_OscInitStruct.PLL.PLLM = 12;
  RCC_OscInitStruct.PLL.PLLN = 96;
  RCC_OscInitStruct.PLL.PLLP = RCC_PLLP_DIV2;
  RCC_OscInitStruct.PLL.PLLQ = 4;
  if (HAL_RCC_OscConfig(&RCC_OscInitStruct) != HAL_OK)
  {
    Error_Handler();
  }

  /** Initializes the CPU, AHB and APB buses clocks
  */
  RCC_ClkInitStruct.ClockType = RCC_CLOCKTYPE_HCLK|RCC_CLOCKTYPE_SYSCLK
                              |RCC_CLOCKTYPE_PCLK1|RCC_CLOCKTYPE_PCLK2;
  RCC_ClkInitStruct.SYSCLKSource = RCC_SYSCLKSOURCE_PLLCLK;
  RCC_ClkInitStruct.AHBCLKDivider = RCC_SYSCLK_DIV1;
  RCC_ClkInitStruct.APB1CLKDivider = RCC_HCLK_DIV2;
  RCC_ClkInitStruct.APB2CLKDivider = RCC_HCLK_DIV1;

  if (HAL_RCC_ClockConfig(&RCC_ClkInitStruct, FLASH_LATENCY_3) != HAL_OK)
  {
    Error_Handler();
  }
}

static void MX_SPI1_Init(void)
{

  /* SPI1 parameter configuration*/
  hspi1.Instance = SPI1;
  hspi1.Init.Mode = SPI_MODE_MASTER;
  hspi1.Init.Direction = SPI_DIRECTION_2LINES;
  hspi1.Init.DataSize = SPI_DATASIZE_8BIT;
  hspi1.Init.CLKPolarity = SPI_POLARITY_HIGH;
  hspi1.Init.CLKPhase = SPI_PHASE_2EDGE;
  hspi1.Init.NSS = SPI_NSS_SOFT;
  hspi1.Init.BaudRatePrescaler = SPI_BAUDRATEPRESCALER_64;
  hspi1.Init.FirstBit = SPI_FIRSTBIT_MSB;
  hspi1.Init.TIMode = SPI_TIMODE_DISABLE;
  hspi1.Init.CRCCalculation = SPI_CRCCALCULATION_DISABLE;
  hspi1.Init.CRCPolynomial = 10;
  if (HAL_SPI_Init(&hspi1) != HAL_OK)
  {
    Error_Handler();
  }

}

static void MX_TIM2_Init(void)
{

  TIM_ClockConfigTypeDef sClockSourceConfig = {0};
  TIM_MasterConfigTypeDef sMasterConfig = {0};

  htim2.Instance = TIM2;
  htim2.Init.Prescaler = 9999;
  htim2.Init.CounterMode = TIM_COUNTERMODE_UP;
  htim2.Init.Period = 49;
  htim2.Init.ClockDivision = TIM_CLOCKDIVISION_DIV1;
  htim2.Init.AutoReloadPreload = TIM_AUTORELOAD_PRELOAD_DISABLE;
  if (HAL_TIM_Base_Init(&htim2) != HAL_OK)
  {
    Error_Handler();
  }
  sClockSourceConfig.ClockSource = TIM_CLOCKSOURCE_INTERNAL;
  if (HAL_TIM_ConfigClockSource(&htim2, &sClockSourceConfig) != HAL_OK)
  {
    Error_Handler();
  }
  sMasterConfig.MasterOutputTrigger = TIM_TRGO_RESET;
  sMasterConfig.MasterSlaveMode = TIM_MASTERSLAVEMODE_DISABLE;
  if (HAL_TIMEx_MasterConfigSynchronization(&htim2, &sMasterConfig) != HAL_OK)
  {
    Error_Handler();
  }

}

static void MX_TIM3_Init(void)
{

  TIM_MasterConfigTypeDef sMasterConfig = {0};
  TIM_OC_InitTypeDef sConfigOC = {0};

  htim3.Instance = TIM3;
  htim3.Init.Prescaler = 99;
  htim3.Init.CounterMode = TIM_COUNTERMODE_UP;
  htim3.Init.Period = 19999;
  htim3.Init.ClockDivision = TIM_CLOCKDIVISION_DIV1;
  htim3.Init.AutoReloadPreload = TIM_AUTORELOAD_PRELOAD_DISABLE;
  if (HAL_TIM_PWM_Init(&htim3) != HAL_OK)
  {
    Error_Handler();
  }
  sMasterConfig.MasterOutputTrigger = TIM_TRGO_RESET;
  sMasterConfig.MasterSlaveMode = TIM_MASTERSLAVEMODE_DISABLE;
  if (HAL_TIMEx_MasterConfigSynchronization(&htim3, &sMasterConfig) != HAL_OK)
  {
    Error_Handler();
  }
  sConfigOC.OCMode = TIM_OCMODE_PWM1;
  sConfigOC.Pulse = 0;
  sConfigOC.OCPolarity = TIM_OCPOLARITY_HIGH;
  sConfigOC.OCFastMode = TIM_OCFAST_DISABLE;
  if (HAL_TIM_PWM_ConfigChannel(&htim3, &sConfigOC, TIM_CHANNEL_1) != HAL_OK)
  {
    Error_Handler();
  }
  if (HAL_TIM_PWM_ConfigChannel(&htim3, &sConfigOC, TIM_CHANNEL_2) != HAL_OK)
  {
    Error_Handler();
  }
  sConfigOC.Pulse = 2000;
  if (HAL_TIM_PWM_ConfigChannel(&htim3, &sConfigOC, TIM_CHANNEL_3) != HAL_OK)
  {
    Error_Handler();
  }
  HAL_TIM_MspPostInit(&htim3);

}

static void MX_USART2_UART_Init(void)
{

  huart2.Instance = USART2;
  huart2.Init.BaudRate = 921600;
  huart2.Init.WordLength = UART_WORDLENGTH_8B;
  huart2.Init.StopBits = UART_STOPBITS_1;
  huart2.Init.Parity = UART_PARITY_NONE;
  huart2.Init.Mode = UART_MODE_TX_RX;
  huart2.Init.HwFlowCtl = UART_HWCONTROL_NONE;
  huart2.Init.OverSampling = UART_OVERSAMPLING_16;
  if (HAL_UART_Init(&huart2) != HAL_OK)
  {
    Error_Handler();
  }

}

static void MX_GPIO_Init(void)
{
  GPIO_InitTypeDef GPIO_InitStruct = {0};

  /* GPIO Ports Clock Enable */
  __HAL_RCC_GPIOH_CLK_ENABLE();
  __HAL_RCC_GPIOA_CLK_ENABLE();
  __HAL_RCC_GPIOB_CLK_ENABLE();

  /*Configure GPIO pin Output Level */
  HAL_GPIO_WritePin(GPIOB, FLASH_CS_Pin|IMU_CS_Pin|BMP_CS_Pin, GPIO_PIN_SET);

  /*Configure GPIO pins : FLASH_CS_Pin IMU_CS_Pin BMP_CS_Pin */
  GPIO_InitStruct.Pin = FLASH_CS_Pin|IMU_CS_Pin|BMP_CS_Pin;
  GPIO_InitStruct.Mode = GPIO_MODE_OUTPUT_PP;
  GPIO_InitStruct.Pull = GPIO_NOPULL;
  GPIO_InitStruct.Speed = GPIO_SPEED_FREQ_LOW;
  HAL_GPIO_Init(GPIOB, &GPIO_InitStruct);

}

/* USER CODE BEGIN 4 */
int _write(int file, char *ptr, int len)
{
  HAL_UART_Transmit(&huart2, (uint8_t *)ptr, len, HAL_MAX_DELAY);
  return len;
}

void HAL_TIM_PeriodElapsedCallback(TIM_HandleTypeDef *htim)
{
  if (htim->Instance == TIM2) {
    tick_ready = 1;
  }
}

uint8_t IMU_ReadRegister(uint8_t reg)
{
  uint8_t tx[2];
  uint8_t rx[2];

  tx[0] = reg | 0x80; // Address byte, bit 7 set = READ
  tx[1] = 0x00; // Dummy byte to clock the answer back

  HAL_GPIO_WritePin(IMU_CS_GPIO_Port, IMU_CS_Pin,  GPIO_PIN_RESET); // select
  HAL_SPI_TransmitReceive(&hspi1, tx, rx, 2, SPI_TIMEOUT_MS); // exchange 2 bytes
  HAL_GPIO_WritePin(IMU_CS_GPIO_Port, IMU_CS_Pin, GPIO_PIN_SET); // deselect

  return rx[1]; // The sensors answers landed in the second byte
}

void IMU_WriteRegister(uint8_t reg, uint8_t value)
{
  uint8_t tx[2];
  tx[0] = reg & 0x7F; // bit 7 = 0 -> Write
  tx[1] = value;

  HAL_GPIO_WritePin(IMU_CS_GPIO_Port, IMU_CS_Pin, GPIO_PIN_RESET); // select
  HAL_SPI_Transmit(&hspi1, tx, 2, SPI_TIMEOUT_MS);
  HAL_GPIO_WritePin(IMU_CS_GPIO_Port, IMU_CS_Pin, GPIO_PIN_SET); // deselect
}

void IMU_ReadRegisters(uint8_t reg, uint8_t *buffer, uint8_t len)
{
  uint8_t addr = reg | 0x80; // bit 7 = 1 -> Read

  HAL_GPIO_WritePin(IMU_CS_GPIO_Port, IMU_CS_Pin, GPIO_PIN_RESET); // select
  HAL_SPI_Transmit(&hspi1, &addr, 1, SPI_TIMEOUT_MS); // send address
  HAL_SPI_Receive(&hspi1, buffer, len, SPI_TIMEOUT_MS); // read data
  HAL_GPIO_WritePin(IMU_CS_GPIO_Port, IMU_CS_Pin, GPIO_PIN_SET); // deselect

}

// Quaternion Functions
// Compose two rotations: applies b first, then a.
// Order matters -- quaternion multiplication is not commutative.
Quaternion quat_multiply(Quaternion a, Quaternion b)
{
  Quaternion r;
  r.w = a.w*b.w - a.x*b.x - a.y*b.y - a.z*b.z;
  r.x = a.w*b.x + a.x*b.w + a.y*b.z - a.z*b.y;
  r.y = a.w*b.y - a.x*b.z + a.y*b.w + a.z*b.x;
  r.z = a.w*b.z + a.x*b.y - a.y*b.x + a.z*b.w;
  return r;
}

//Reverse the rotation: same axis, opposite direction.
Quaternion quat_conjugate(Quaternion q)
{
  Quaternion r = {q.w, -q.x, -q.y, -q.z};
  return r;
}

// Resscale to unit length. Re-imposes w^2+x^2+y^2+z^2=1.
Quaternion quat_normalize(Quaternion q)
{
  float n = sqrtf(q.w*q.w + q.x*q.x + q.y*q.y + q.z*q.z);
  if (n < 1e-6f) {
    Quaternion id = {1.0f, 0.0f, 0.0f, 0.0f};
    return id; // Return identity quaternion if input is too small
  }
  Quaternion r = {q.w/n, q.x/n, q.y/n, q.z/n};
  return r;
}

void quat_print(const char *label, Quaternion q)
{
  printf("%-12s w=%7.4f x=%7.4f y=%7.4f z=%7.4f\r\n", label, q.w, q.x, q.y, q.z);
}

//Integrate gyro rates (rad/s) into the orientation quaternion over dt seconds.
// q_new = q + (1/2)(q (x) (o,wx,wy,wz)) * dt, then normalize
Quaternion quat_integrate(Quaternion q, float wx, float wy, float wz, float dt)
{
  Quaternion omega = {0.0f, wx, wy, wz};    // gyro as a pure quaternion
  Quaternion qdot = quat_multiply(q, omega); // quaternion (x) (0, w)

  // scale by 1/2, then by dt, and add to q
  Quaternion q_new;
  q_new.w = q.w + 0.5f * qdot.w * dt;
  q_new.x = q.x + 0.5f * qdot.x * dt;
  q_new.y = q.y + 0.5f * qdot.y * dt;
  q_new.z = q.z + 0.5f * qdot.z * dt;

  return quat_normalize(q_new); // normalize to unit length
}

// Rotate vector v by quaternion q: v' = q (x) (0,v) (x) q*
// Pass q for body -> world, or pass q* for world -> body
void quat_rotate_vector(Quaternion q, float vx, float vy, float vz, float *rx, float *ry, float *rz)
{
  Quaternion v = {0.0f, vx, vy, vz};
  Quaternion qc = quat_conjugate(q);
  Quaternion tmp = quat_multiply(q, v);
  Quaternion res = quat_multiply(tmp, qc);
  *rx = res.x;
  *ry = res.y;
  *rz = res.z;
}

// Convert quaternion to roll/pitch/yaw in degrees (ZYX convention)
// FOR DISPLAY ONLY -- the quaternion remains the authoritative state
// Degenerates near pitch = +/- 90 deg (singularity point in OUTPUT, not the real estimate)
void quat_to_euler(Quaternion q, float *roll, float *pitch, float *yaw)
{
  const float RAD2DEG = 180.0f / 3.14159265f;

  // roll (rotation about X)
  float sinr_cosp = 2.0f * (q.w*q.x + q.y*q.z);
  float cosr_cosp = 1.0f - 2.0f * (q.x*q.x + q.y*q.y);
  *roll = atan2f(sinr_cosp, cosr_cosp) * RAD2DEG;

  // pitch (rotation about Y)
  float sinp = 2.0f * (q.w*q.y - q.z*q.x);
  if (sinp > 1.0f) sinp = 1.0f;    // clamp -- guards asinf against
  if (sinp < -1.0f) sinp = -1.0f;  // domain error from float rounding
  *pitch = asinf(sinp) * RAD2DEG;

  // yaw (rotation about Z)
  float siny_cosp = 2.0f * (q.w*q.z + q.x*q.y);
  float cosy_cosp = 1.0f - 2.0f * (q.y*q.y + q.z*q.z);
  *yaw = atan2f(siny_cosp, cosy_cosp) * RAD2DEG;
}

// Shortest arc quaternion rotating vector a onto vector b
// Both inputs must be unit length. Returns identity if a and b are antiparallel
Quaternion quat_from_two_vectors(float ax, float ay, float az, float bx_, float by_, float bz_)
{
  float dot = ax*bx_ + ay*by_ + az*bz_;

  Quaternion q;
  q.w = 1.0f + dot;
  q.x = ay*bz_ - az*by_;  // a x b
  q.y = az*bx_ - ax*bz_;
  q.z = ax*by_ - ay*bx_;

  return quat_normalize(q);
}

// Nose attitude relative to vertical
// tilt_deg: total angle of the nose (body +X) away from straight up. No singularity.
// err_y, err_z: attitude error as rotation about body +Y and +Z -- the control error signals
void attitude_tilt(Quaternion q, float *tilt_deg, float *err_y, float *err_z)
{
  const float RAD2DEG = 180.0f / 3.14159265f;

  // Rotate world up into the body frame
  float ux, uy, uz;
  quat_rotate_vector(quat_conjugate(q), 0.0f, 0.0f, 1.0f, &ux, &uy, &uz);

  float c = ux;
  if (c >  1.0f) c =  1.0f;
  if (c < -1.0f) c = -1.0f;
  *tilt_deg = acosf(c) * RAD2DEG;

  // Attitude error as a rotation vector: (body +X) x (world up) = (0, -uz, uy)
  // Magnitude is sin(tilt), so ~= tilt in radians for small angles.
  *err_y = -uz;
  *err_z = uy;
}

// ---
// BMP 280 Functions
// ---

uint8_t BMP280_ReadRegister(uint8_t reg)
{
  uint8_t tx[2];
  uint8_t rx[2];

  tx[0] = reg | 0x80; // Address byte, bit 7 set = READ
  tx[1] = 0x00; // Dummy byte to clock the answer back

  HAL_GPIO_WritePin(BMP_CS_GPIO_Port, BMP_CS_Pin,  GPIO_PIN_RESET); // CS Low: Start communication
  HAL_SPI_TransmitReceive(&hspi1, tx, rx, 2, SPI_TIMEOUT_MS); // exchange 2 bytes
  HAL_GPIO_WritePin(BMP_CS_GPIO_Port, BMP_CS_Pin, GPIO_PIN_SET); // CS High: End communication

  return rx[1]; // The sensors answers landed in the second byte
}

void BMP280ReadRegisters(uint8_t reg, uint8_t *buffer, uint16_t len)
{
  uint8_t addr = reg | 0x80; // Address byte, bit 7 set = READ

  HAL_GPIO_WritePin(BMP_CS_GPIO_Port, BMP_CS_Pin, GPIO_PIN_RESET); // CS Low: Start communication
  HAL_SPI_Transmit(&hspi1, &addr, 1, SPI_TIMEOUT_MS); // exchange registers
  HAL_SPI_Receive(&hspi1, buffer, len, SPI_TIMEOUT_MS); // receive data
  HAL_GPIO_WritePin(BMP_CS_GPIO_Port, BMP_CS_Pin, GPIO_PIN_SET); // CS High: End communication
}

void BMP280_ReadCalibration(void)
{
  uint8_t buf[24]; // Buffer to hold calibration data
  BMP280ReadRegisters(0x88, buf, 24); // Read 24 bytes of calibration data starting from register 0x88

  calib.dig_T1 = (uint16_t)((buf[1] << 8) | buf[0]);
  calib.dig_T2 = (int16_t)((buf[3] << 8) | buf[2]);
  calib.dig_T3 = (int16_t)((buf[5] << 8) | buf[4]);
  calib.dig_P1 = (uint16_t)((buf[7] << 8) | buf[6]);
  calib.dig_P2 = (int16_t)((buf[9] << 8) | buf[8]);
  calib.dig_P3 = (int16_t)((buf[11] << 8) | buf[10]);
  calib.dig_P4 = (int16_t)((buf[13] << 8) | buf[12]);
  calib.dig_P5 = (int16_t)((buf[15] << 8) | buf[14]);
  calib.dig_P6 = (int16_t)((buf[17] << 8) | buf[16]);
  calib.dig_P7 = (int16_t)((buf[19] << 8) | buf[18]);
  calib.dig_P8 = (int16_t)((buf[21] << 8) | buf[20]);
  calib.dig_P9 = (int16_t)((buf[23] << 8) | buf[22]);
}

void BMP280ReadRaw(int32_t *raw_temp, int32_t *raw_press)
{
  uint8_t buf[6]; // Buffer to hold raw data
  BMP280ReadRegisters(0xF7, buf, 6); // Read 6 bytes of raw data starting from register 0xF7

  *raw_press = (int32_t)((buf[0] << 12) | (buf[1] << 4) | (buf[2] >> 4)); // Combine bytes to get raw pressure
  *raw_temp = (int32_t)((buf[3] << 12) | (buf[4] << 4) | (buf[5] >> 4)); // Combine bytes to get raw temperature
}

void BMP280_WriteRegister(uint8_t reg, uint8_t value)
{
    uint8_t tx[2];
    tx[0] = reg & 0x7F;   // address byte, bit 7 cleared = WRITE
    tx[1] = value;        // the byte to write into that register

    HAL_GPIO_WritePin(BMP_CS_GPIO_Port, BMP_CS_Pin, GPIO_PIN_RESET);  // CS low
    HAL_SPI_Transmit(&hspi1, tx, 2, SPI_TIMEOUT_MS);                   // send both bytes
    HAL_GPIO_WritePin(BMP_CS_GPIO_Port, BMP_CS_Pin, GPIO_PIN_SET);    // CS high
}

float BMP280CompensateTemp(int32_t raw_temp)
{
  float var1, var2, T;
  var1 = (((float)raw_temp) / 16384.0f - ((float)calib.dig_T1) / 1024.0f) * ((float)calib.dig_T2);
  var2 = ((((float)raw_temp)/131072.0f - ((float)calib.dig_T1)/8192.0f) *
          (((float)raw_temp)/131072.0f - ((float)calib.dig_T1)/8192.0f)) * ((float)calib.dig_T3);
  t_fine = (int32_t)(var1 + var2);
  T = (var1 + var2) / 5120.0f;
  return T; // Return temperature in degrees Celsius
}

float BMP280CompensatePress(int32_t raw_press)
{
  float var1, var2, p;
  var1 = ((float)t_fine / 2.0f) - 64000.0f;
  var2 = var1 * var1 * ((float)calib.dig_P6) / 32768.0f;
  var2 = var2 + var1 * ((float)calib.dig_P5) * 2.0f;
  var2 = (var2 / 4.0) + (((float)calib.dig_P4) * 65536.0f);
  var1 = (((float)calib.dig_P3) * var1 * var1 / 524288.0f + ((float)calib.dig_P2) * var1) / 524288.0f;
  var1 = (1.0f + var1 / 32768.0f) * ((float)calib.dig_P1);

  if (var1 == 0.0f)
    return 0; // Avoid division by zero

  p = 1048576.0f - (float)raw_press;
  p = (p - (var2 / 4096.0f)) * 6250.0f / var1;
  var1 = ((float)calib.dig_P9) * p * p / 2147483648.0f;
  var2 = p * ((float)calib.dig_P8) / 32768.0f;

  p = p + (var1 + var2 + ((float)calib.dig_P7)) / 16.0f;

  return p; // Return pressure in Pascals
}

// Convert pressure to altitude relative to a ground reference
// Returns meters above the pad. Positive = higher than P0 (lower altitude)
float pressure_to_altitude(float pressure_pa, float p0_pa)
{
  return 44330.0f * (1.0f - powf(pressure_pa / p0_pa, 0.1903f));
}

// --- Control Functions ---
// Convert a commanded gimbal deflection (degrees) to a servo pulse width (microseconds)
// sign: +1 or -1, set emprically so that a positive command produces a
// deflection that CORRECTS the attitude error. Not derivable on paper.
static uint16_t gimbal_to_pulse(float cmd_deg, float sign, uint16_t trim, float us_per_deg, uint16_t min_us, uint16_t max_us)
{
  // Guard 1: limit deflection to the verifiied linear working range
  if (cmd_deg > MAX_DEFLECT) cmd_deg = MAX_DEFLECT;
  if (cmd_deg < -MAX_DEFLECT) cmd_deg = -MAX_DEFLECT;

  float pulse = (float)trim + sign * cmd_deg * us_per_deg;

  // Guard 2: hard bound inside the mechanical stops, independent of guard 1
  if (pulse < (float)min_us) pulse = (float)min_us;
  if (pulse > (float)max_us) pulse = (float)max_us;

  return (uint16_t)(pulse + 0.5f); // round rather than truncate
}

// Flash Chip Functions

// Read the 3-byte JEDEC ID: manufacturer, memory type, capacity
// W25128JV should return EF 40 18
void Flash_ReadJEDEC(uint8_t *buf)
{
  uint8_t cmd = 0x9F; // JEDEC ID command

  HAL_GPIO_WritePin(FLASH_CS_GPIO_Port, FLASH_CS_Pin, GPIO_PIN_RESET); // CS low
  HAL_SPI_Transmit(&hspi1, &cmd, 1, SPI_TIMEOUT_MS); // send command
  HAL_SPI_Receive(&hspi1, buf, 3, SPI_TIMEOUT_MS); // read 3 bytes
  HAL_GPIO_WritePin(FLASH_CS_GPIO_Port, FLASH_CS_Pin, GPIO_PIN_SET); // CS high
}

void Flash_Read(uint32_t addr, uint8_t *buf, uint16_t len)
{
  uint8_t cmd[4];
  cmd[0] = 0x03; // Read command
  cmd[1] = (addr >> 16) & 0xFF; // Address byte 1
  cmd[2] = (addr >> 8) & 0xFF;  // Address byte 2
  cmd[3] = addr & 0xFF;         // Address byte 3

  HAL_GPIO_WritePin(FLASH_CS_GPIO_Port, FLASH_CS_Pin, GPIO_PIN_RESET); // CS low
  HAL_SPI_Transmit(&hspi1, cmd, 4, SPI_TIMEOUT_MS); // send command and address
  HAL_SPI_Receive(&hspi1, buf, len, SPI_TIMEOUT_MS); // read data
  HAL_GPIO_WritePin(FLASH_CS_GPIO_Port, FLASH_CS_Pin, GPIO_PIN_SET); // CS high
}

uint8_t Flash_ReadStatus(void)
{
  uint8_t cmd = 0x05, status = 0;
  HAL_GPIO_WritePin(FLASH_CS_GPIO_Port, FLASH_CS_Pin, GPIO_PIN_RESET);
  HAL_SPI_Transmit(&hspi1, &cmd, 1, SPI_TIMEOUT_MS);
  HAL_SPI_Receive(&hspi1, &status, 1, SPI_TIMEOUT_MS);
  HAL_GPIO_WritePin(FLASH_CS_GPIO_Port, FLASH_CS_Pin, GPIO_PIN_SET);
  return status;
}

void Flash_WaitBusy(void)
{
  while (Flash_ReadStatus() & 0x01) { }   // bit 0 = BUSY
}

void Flash_WriteEnable(void)
{
  uint8_t cmd = 0x06;
  HAL_GPIO_WritePin(FLASH_CS_GPIO_Port, FLASH_CS_Pin, GPIO_PIN_RESET);
  HAL_SPI_Transmit(&hspi1, &cmd, 1, SPI_TIMEOUT_MS);
  HAL_GPIO_WritePin(FLASH_CS_GPIO_Port, FLASH_CS_Pin, GPIO_PIN_SET);
}

// Write up to 256 bytes. Must not cross a 256-byte page boundary.
void Flash_PageProgram(uint32_t addr, const uint8_t *data, uint16_t len)
{
  uint8_t cmd[4];
  cmd[0] = 0x02;
  cmd[1] = (addr >> 16) & 0xFF;
  cmd[2] = (addr >>  8) & 0xFF;
  cmd[3] =  addr        & 0xFF;

  Flash_WriteEnable();

  HAL_GPIO_WritePin(FLASH_CS_GPIO_Port, FLASH_CS_Pin, GPIO_PIN_RESET);
  HAL_SPI_Transmit(&hspi1, cmd, 4, SPI_TIMEOUT_MS);
  HAL_SPI_Transmit(&hspi1, (uint8_t *)data, len, SPI_TIMEOUT_MS);
  HAL_GPIO_WritePin(FLASH_CS_GPIO_Port, FLASH_CS_Pin, GPIO_PIN_SET);

  Flash_WaitBusy();
}

// Erase the 4 KB sector containing addr. Takes 45-400 ms.
void Flash_SectorErase(uint32_t addr)
{
  uint8_t cmd[4];
  cmd[0] = 0x20;
  cmd[1] = (addr >> 16) & 0xFF;
  cmd[2] = (addr >>  8) & 0xFF;
  cmd[3] =  addr        & 0xFF;

  Flash_WriteEnable();

  HAL_GPIO_WritePin(FLASH_CS_GPIO_Port, FLASH_CS_Pin, GPIO_PIN_RESET);
  HAL_SPI_Transmit(&hspi1, cmd, 4, SPI_TIMEOUT_MS);
  HAL_GPIO_WritePin(FLASH_CS_GPIO_Port, FLASH_CS_Pin, GPIO_PIN_SET);

  Flash_WaitBusy();
}

// Dump flash contents as hex over serial. Stops at the first fully
// erased page. Blocking and slow -- ground use only.
void Flash_Dump(void)
{
  uint8_t buf[256];
  uint32_t addr = 0;

  printf("---FLASH DUMP BEGIN---\r\n");

  while (addr < 0x1000000) {          // 16 MB
    Flash_Read(addr, buf, 256);

    // Check for a fully erased page -- end of data
    int erased = 1;
    for (int i = 0; i < 256; i++) {
      if (buf[i] != 0xFF) { erased = 0; break; }
    }
    if (erased) break;

    for (int i = 0; i < 256; i++) printf("%02X", buf[i]);
    printf("\r\n");

    addr += 256;
  }

  printf("---FLASH DUMP END--- %lu bytes\r\n", (unsigned long)addr);
}

// Erase sectors from 0 until the first already-erased sector.
// Only clears what was written -- much faster than a full chip erase.
void Flash_EraseLog(void)
{
  uint8_t buf[16];
  uint32_t addr = 0;
  uint32_t count = 0;
  uint32_t t0 = HAL_GetTick();

  printf("Erasing...\r\n");

  while (addr < 0x1000000) {
    Flash_Read(addr, buf, 16);

    int erased = 1;
    for (int i = 0; i < 16; i++) {
      if (buf[i] != 0xFF) { erased = 0; break; }
    }
    if (erased) break;

    Flash_SectorErase(addr);
    addr += 4096;
    count++;
  }

  printf("Erased %lu sectors in %lu ms\r\n",
         (unsigned long)count, (unsigned long)(HAL_GetTick() - t0));
}

// Find the first erased 4 KB sector. Data is contiguous from address 0,
// so "is this sector erased" is monotonic -- false below the boundary,
// true above -- which is what makes binary search valid.
static uint32_t Flash_FindEndSector(void)
{
  uint32_t lo = 0;                  // known written (or the chip is empty)
  uint32_t hi = 4096;               // 16 MB / 4 KB, one past the last sector

  while (lo < hi) {
    uint32_t mid = lo + (hi - lo) / 2;
    uint8_t buf[16];
    Flash_Read(mid * 4096, buf, 16);

    int erased = 1;
    for (int i = 0; i < 16; i++) {
      if (buf[i] != 0xFF) { erased = 0; break; }
    }

    if (erased) hi = mid;           // boundary is at or below mid
    else        lo = mid + 1;       // boundary is above mid
  }

  return lo;                        // index of the first erased sector
}

// Find the next free write address: the first erased page.
uint32_t Flash_FindWriteAddr(void)
{
  uint32_t sector = Flash_FindEndSector();

  if (sector == 0) return 0;        // chip is empty

  // The boundary is inside the previous sector -- scan its 16 pages
  uint32_t base = (sector - 1) * 4096;

  for (int p = 0; p < 16; p++) {
    uint32_t addr = base + p * 256;
    uint8_t buf[16];
    Flash_Read(addr, buf, 16);

    int erased = 1;
    for (int i = 0; i < 16; i++) {
      if (buf[i] != 0xFF) { erased = 0; break; }
    }
    if (erased) return addr;
  }

  return sector * 4096;             // previous sector fully written
}

// Synthetic vertical acceleration
// Returns net acceleration (gravity already removed), matching lin_accel_z
#if SIM_MODE
float sim_lin_accel_z(float t)
{
  if (t < 2.0f) {
    return 0.0f;
  } else if (t < 5.45f) {
    return 20.0f;
  } else {
    return -10.0f;
  }
}
#endif

/* USER CODE END 4 */

void Error_Handler(void)
{
  /* USER CODE BEGIN Error_Handler_Debug */
  /* User can add his own implementation to report the HAL error return state */
  // Safe the gimbal before halting. PWM is generated by the timer hardware, so the
  // servos would otherwise hold their last commanded deflection forever
  __HAL_TIM_SET_COMPARE(&htim3, TIM_CHANNEL_1, SERVO_MY_TRIM);   // y axis servo
  __HAL_TIM_SET_COMPARE(&htim3, TIM_CHANNEL_2, SERVO_MX_TRIM);   // x axis servo
  __HAL_TIM_SET_COMPARE(&htim3, TIM_CHANNEL_3, EJECT_ARMED_US);  // safe servo to armed position

  __disable_irq();
  while (1)
  {
  }
  /* USER CODE END Error_Handler_Debug */
}
